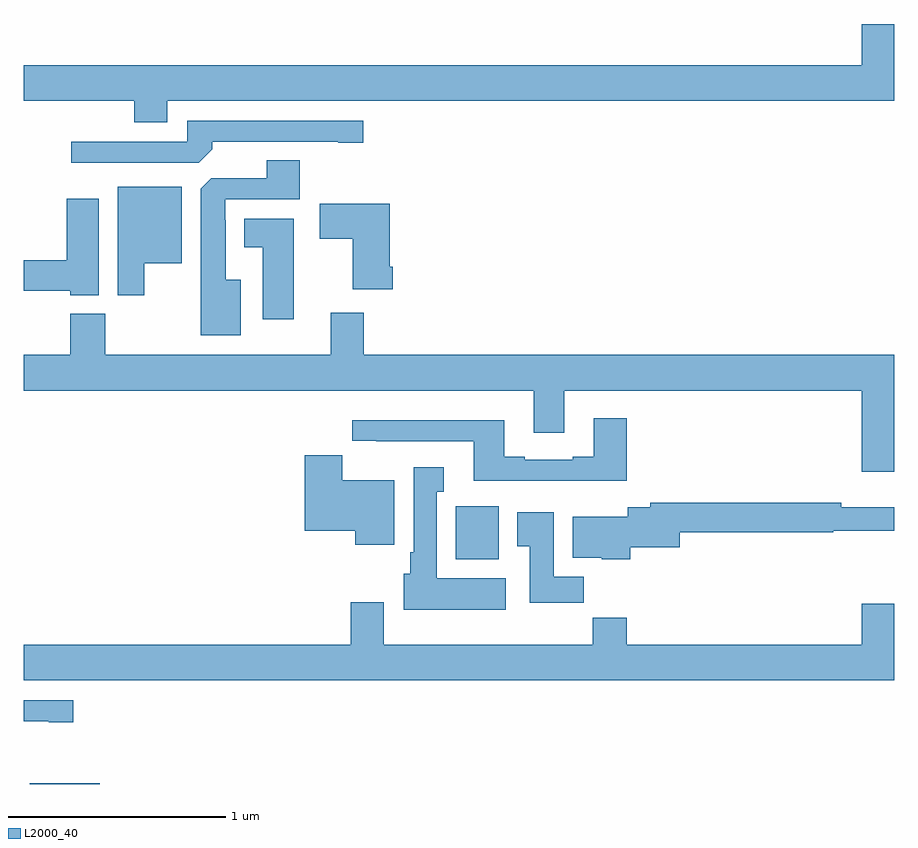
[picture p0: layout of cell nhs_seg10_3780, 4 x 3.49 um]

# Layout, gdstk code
import gdstk
lib = gdstk.Library(unit=1e-6, precision=1e-09)
def R(c, l, rs):  # rectangles x0, y0, x1, y1
    for r in rs: c.add(gdstk.rectangle(r[:2], r[2:], *l))
def P(c, l, *ps):  # polygons
    for p in ps: c.add(gdstk.Polygon(p, *l))
L2000_40 = (2000, 40)

nhs_seg10_3780 = lib.new_cell('nhs_seg10_3780')
R(nhs_seg10_3780, L2000_40, [(317.028,1306.5,317.35,1306.504), (318.986,1307.534,319.183,1307.776)])
P(nhs_seg10_3780, L2000_40, [(317.659,1309.64),(321,1309.64),(321,1309.993),(320.852,1309.993),(320.852,1309.804),(317,1309.804),(317,1309.64),(317.507,1309.64),(317.507,1309.541),(317.659,1309.541)],
  [(317.867,1309.418),(317.867,1309.452),(318.446,1309.452),(318.446,1309.447),(318.559,1309.447),(318.559,1309.548),(317.751,1309.548),(317.751,1309.452),(317.217,1309.452),(317.217,1309.356),(317.805,1309.356)],
  [(317.998,1308.817),(317.929,1308.817),(317.929,1309.091),(317.925,1309.091),(317.925,1309.188),(318.269,1309.188),(318.269,1309.367),(318.116,1309.367),(318.116,1309.284),(317.862,1309.284),(317.813,1309.235),(317.813,1308.563),(317.998,1308.563)],
  [(317.554,1308.893),(317.725,1308.893),(317.725,1309.246),(317.432,1309.246),(317.432,1308.747),(317.554,1308.747)],
  [(317.344,1309.189),(317.198,1309.189),(317.198,1308.908),(317,1308.908),(317,1308.766),(317.214,1308.766),(317.214,1308.746),(317.344,1308.746)],
  [(318.695,1308.877),(318.682,1308.877),(318.682,1309.168),(318.36,1309.168),(318.36,1309.006),(318.512,1309.006),(318.512,1308.773),(318.695,1308.773)],
  [(318.241,1309.099),(318.014,1309.099),(318.014,1308.968),(318.098,1308.968),(318.098,1308.636),(318.241,1308.636)],
  [(321,1308.472),(318.563,1308.472),(318.563,1308.667),(318.41,1308.667),(318.41,1308.472),(317.373,1308.472),(317.373,1308.661),(317.213,1308.661),(317.213,1308.472),(317,1308.472),(317,1308.308),(319.343,1308.308),(319.343,1308.114),(319.483,1308.114),(319.483,1308.308),(320.852,1308.308),(320.852,1307.934),(321,1307.934)],
  [(319.772,1308.181),(319.619,1308.181),(319.619,1308.004),(319.523,1308.004),(319.523,1307.991),(319.303,1307.991),(319.303,1308.004),(319.207,1308.004),(319.207,1308.172),(318.51,1308.172),(318.51,1308.077),(318.619,1308.077),(318.619,1308.075),(319.067,1308.075),(319.067,1307.894),(319.772,1307.894)],
  [(318.703,1307.896),(318.463,1307.896),(318.463,1308.012),(318.29,1308.012),(318.29,1307.663),(318.524,1307.663),(318.524,1307.6),(318.703,1307.6)],
  [(319.216,1307.446),(318.898,1307.446),(318.898,1307.843),(318.931,1307.843),(318.931,1307.956),(318.791,1307.956),(318.791,1307.566),(318.776,1307.566),(318.776,1307.466),(318.746,1307.466),(318.746,1307.3),(319.216,1307.3)],
  [(319.787,1307.588),(320.014,1307.588),(320.014,1307.656),(320.719,1307.656),(320.719,1307.664),(321,1307.664),(321,1307.773),(320.756,1307.773),(320.756,1307.792),(319.879,1307.792),(319.879,1307.773),(319.775,1307.773),(319.775,1307.728),(319.523,1307.728),(319.523,1307.54),(319.656,1307.54),(319.656,1307.534),(319.787,1307.534)],
  [(319.574,1307.452),(319.435,1307.452),(319.435,1307.749),(319.268,1307.749),(319.268,1307.593),(319.325,1307.593),(319.325,1307.334),(319.574,1307.334)],
  [(321,1307.329),(320.852,1307.329),(320.852,1307.14),(319.772,1307.14),(319.772,1307.264),(319.615,1307.264),(319.615,1307.14),(318.655,1307.14),(318.655,1307.335),(318.503,1307.335),(318.503,1307.14),(317,1307.14),(317,1306.976),(321,1306.976)],
  [(317.227,1306.884),(317,1306.884),(317,1306.788),(317.114,1306.788),(317.114,1306.783),(317.227,1306.783)])

lib.write_gds('nhs_seg10_3780.gds')
